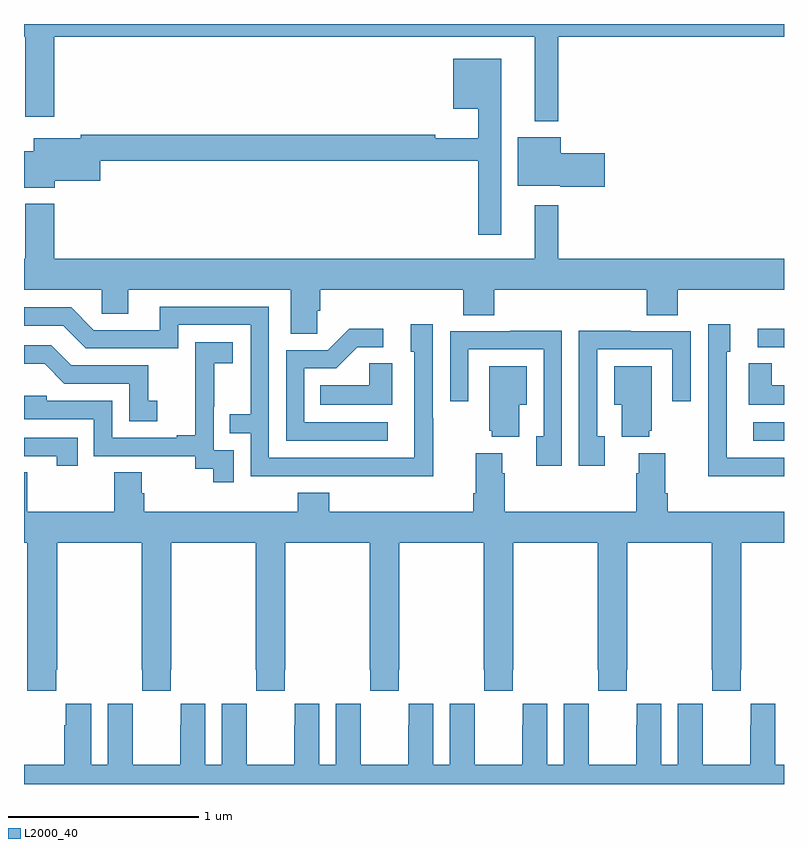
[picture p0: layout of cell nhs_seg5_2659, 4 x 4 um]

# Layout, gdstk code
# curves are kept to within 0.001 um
import gdstk
lib = gdstk.Library(unit=1e-6, precision=1e-09)
def R(c, l, rs):  # rectangles x0, y0, x1, y1
    for r in rs: c.add(gdstk.rectangle(r[:2], r[2:], *l))
def P(c, l, *ps):  # polygons
    for p in ps: c.add(gdstk.Polygon(p, *l))
L2000_40 = (2000, 40)

nhs_seg5_2659 = lib.new_cell('nhs_seg5_2659')
R(nhs_seg5_2659, L2000_40, [(268.839,882.606,269,882.702)])
P(nhs_seg5_2659, L2000_40, [(267.811,884.732),(269,884.732),(269,884.799),(265,884.799),(265,884.732),(265.007,884.732),(265.007,884.31),(265.16,884.31),(265.16,884.732),(267.689,884.732),(267.689,884.288),(267.811,884.288)],
  [(267.511,884.617),(267.26,884.617),(267.26,884.354),(267.39,884.354),(267.39,884.197),(267.164,884.197),(267.164,884.216),(265.298,884.216),(265.298,884.197),(265.052,884.197),(265.052,884.128),(265,884.128),(265,883.937),(265.162,883.937),(265.162,883.973),(265.402,883.973),(265.402,884.08),(267.39,884.08),(267.39,883.689),(267.511,883.689)],
  [(268.057,884.12),(267.826,884.12),(267.826,884.203),(267.599,884.203),(267.599,883.949),(267.822,883.949),(267.822,883.942),(268.057,883.942)],
  [(266.544,883.291),(266.558,883.291),(266.558,883.4),(267.311,883.4),(267.311,883.267),(267.476,883.267),(267.476,883.4),(268.277,883.4),(268.277,883.267),(268.442,883.267),(268.442,883.4),(269,883.4),(269,883.564),(267.811,883.564),(267.811,883.846),(267.689,883.846),(267.689,883.564),(265.16,883.564),(265.16,883.852),(265.007,883.852),(265.007,883.564),(265,883.564),(265,883.4),(265.41,883.4),(265.41,883.273),(265.549,883.273),(265.549,883.4),(266.405,883.4),(266.405,883.168),(266.544,883.168)],
  [(267.153,882.725),(267.15,882.725),(267.15,883.219),(267.035,883.219),(267.035,883.074),(267.054,883.074),(267.054,882.516),(266.289,882.516),(266.289,883.311),(265.715,883.311),(265.715,883.188),(265.368,883.188),(265.248,883.308),(265,883.308),(265,883.212),(265.206,883.212),(265.326,883.092),(265.812,883.092),(265.812,883.215),(266.193,883.215),(266.193,882.746),(266.083,882.746),(266.083,882.645),(266.193,882.645),(266.193,882.42),(267.153,882.419)],
  [(269,882.516),(268.698,882.516),(268.698,883.074),(268.717,883.074),(268.717,883.219),(268.602,883.219),(268.602,882.725),(268.6,882.725),(268.6,882.419),(269,882.419)],
  [(266.914,882.702),(266.475,882.702),(266.475,882.987),(266.644,882.987),(266.755,883.098),(266.89,883.098),(266.89,883.196),(266.711,883.196),(266.598,883.083),(266.379,883.083),(266.379,882.606),(266.914,882.606)],
  [(269,883.196),(268.863,883.196),(268.863,883.098),(268.997,883.098),(269,883.095)],
  [(267.831,883.184),(267.559,883.184),(267.559,883.182),(267.243,883.182),(267.243,882.813),(267.339,882.813),(267.339,883.086),(267.735,883.086),(267.735,882.63),(267.695,882.63),(267.695,882.474),(267.831,882.474)],
  [(268.057,882.63),(268.017,882.63),(268.017,883.086),(268.413,883.086),(268.413,882.813),(268.509,882.813),(268.509,883.182),(268.193,883.182),(268.193,883.184),(267.921,883.184),(267.921,882.474),(268.057,882.474)],
  [(266.103,882.555),(265.998,882.555),(265.998,882.785),(266,882.785),(266,883.013),(266.098,883.013),(266.098,883.123),(265.9,883.123),(265.9,882.917),(265.901,882.917),(265.901,882.634),(265.805,882.634),(265.805,882.621),(265.464,882.621),(265.464,882.816),(265.119,882.816),(265.119,882.843),(265,882.843),(265,882.72),(265.368,882.72),(265.368,882.525),(265.902,882.525),(265.902,882.457),(265.995,882.457),(265.995,882.387),(266.103,882.387)],
  [(265.702,882.817),(265.653,882.817),(265.653,883.002),(265.249,883.002),(265.144,883.107),(265,883.107),(265,883.01),(265.108,883.01),(265.212,882.906),(265.554,882.906),(265.554,882.708),(265.702,882.708)],
  [(266.938,883.013),(266.817,883.013),(266.817,882.898),(266.56,882.898),(266.56,882.794),(266.938,882.794)],
  [(269,882.898),(268.935,882.898),(268.935,883.013),(268.814,883.013),(268.814,882.794),(269,882.794)],
  [(268.292,882.657),(268.303,882.657),(268.303,882.997),(268.106,882.997),(268.106,882.794),(268.145,882.794),(268.145,882.626),(268.292,882.626)],
  [(267.607,882.794),(267.646,882.794),(267.646,882.997),(267.449,882.997),(267.449,882.657),(267.461,882.657),(267.461,882.626),(267.607,882.626)],
  [(265.283,882.621),(265,882.621),(265,882.525),(265.172,882.525),(265.172,882.474),(265.283,882.474)],
  [(265.169,881.401),(265.176,881.401),(265.176,882.068),(265.621,882.068),(265.621,881.401),(265.623,881.401),(265.623,881.289),(265.773,881.289),(265.773,881.401),(265.776,881.401),(265.776,882.068),(266.221,882.068),(266.221,881.401),(266.223,881.401),(266.223,881.289),(266.373,881.289),(266.373,881.401),(266.376,881.401),(266.376,882.068),(266.821,882.068),(266.821,881.401),(266.823,881.401),(266.823,881.289),(266.973,881.289),(266.973,881.401),(266.976,881.401),(266.976,882.068),(267.421,882.068),(267.421,881.401),(267.423,881.401),(267.423,881.289),(267.573,881.289),(267.573,881.401),(267.576,881.401),(267.576,882.068),(268.021,882.068),(268.021,881.401),(268.023,881.401),(268.023,881.289),(268.173,881.289),(268.173,881.401),(268.176,881.401),(268.176,882.068),(268.621,882.068),(268.621,881.401),(268.623,881.401),(268.623,881.289),(268.773,881.289),(268.773,881.401),(268.776,881.401),(268.776,882.068),(269,882.068),(269,882.232),(268.388,882.232),(268.388,882.328),(268.375,882.328),(268.375,882.541),(268.235,882.541),(268.235,882.434),(268.223,882.434),(268.223,882.232),(267.53,882.232),(267.53,882.434),(267.517,882.434),(267.517,882.541),(267.377,882.541),(267.377,882.328),(267.365,882.328),(267.365,882.232),(266.606,882.232),(266.606,882.331),(266.441,882.331),(266.441,882.232),(265.634,882.232),(265.634,882.33),(265.621,882.33),(265.621,882.44),(265.474,882.44),(265.474,882.232),(265.017,882.232),(265.017,882.44),(265,882.44),(265,882.068),(265.016,882.068),(265.016,881.289),(265.169,881.289)],
  [(269,880.9),(268.954,880.9),(268.954,881.221),(268.824,881.221),(268.824,881.108),(268.823,881.108),(268.823,880.9),(268.573,880.9),(268.573,881.108),(268.572,881.108),(268.572,881.221),(268.442,881.221),(268.442,880.9),(268.354,880.9),(268.354,881.221),(268.224,881.221),(268.224,881.108),(268.223,881.108),(268.223,880.9),(267.973,880.9),(267.973,881.108),(267.972,881.108),(267.972,881.221),(267.842,881.221),(267.842,880.9),(267.754,880.9),(267.754,881.221),(267.624,881.221),(267.624,881.108),(267.623,881.108),(267.623,880.9),(267.373,880.9),(267.373,881.108),(267.372,881.108),(267.372,881.221),(267.242,881.221),(267.242,880.9),(267.154,880.9),(267.154,881.221),(267.024,881.221),(267.024,881.108),(267.023,881.108),(267.023,880.9),(266.773,880.9),(266.773,881.108),(266.772,881.108),(266.772,881.221),(266.642,881.221),(266.642,880.9),(266.554,880.9),(266.554,881.221),(266.424,881.221),(266.424,881.108),(266.423,881.108),(266.423,880.9),(266.173,880.9),(266.173,881.108),(266.172,881.108),(266.172,881.221),(266.042,881.221),(266.042,880.9),(265.954,880.9),(265.954,881.221),(265.824,881.221),(265.824,881.108),(265.823,881.108),(265.823,880.9),(265.573,880.9),(265.573,881.108),(265.572,881.108),(265.572,881.221),(265.442,881.221),(265.442,880.9),(265.354,880.9),(265.354,881.221),(265.22,881.221),(265.22,881.108),(265.211,881.108),(265.211,880.9),(265,880.9),(265,880.799),(269,880.799)])

lib.write_gds('nhs_seg5_2659.gds')
